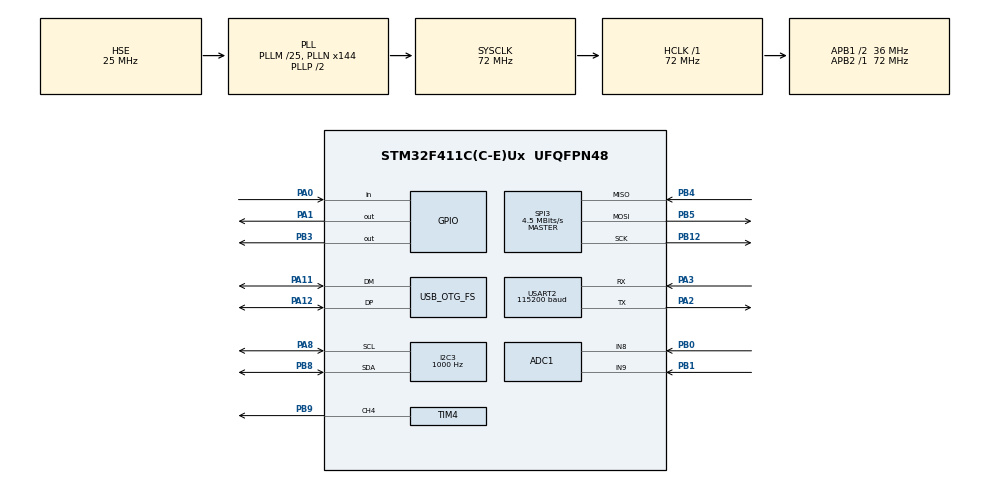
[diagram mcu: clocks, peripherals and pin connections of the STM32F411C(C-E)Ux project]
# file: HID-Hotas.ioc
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ADC1.Channel-10\#ChannelRegularConversion=ADC_CHANNEL_9
ADC1.Channel-9\#ChannelRegularConversion=ADC_CHANNEL_8
ADC1.DMAContinuousRequests=ENABLE
ADC1.EOCSelection=ADC_EOC_SEQ_CONV
ADC1.NbrOfConversion=2
ADC1.NbrOfConversionFlag=1
ADC1.Rank-10\#ChannelRegularConversion=2
ADC1.Rank-9\#ChannelRegularConversion=1
ADC1.SamplingTime-10\#ChannelRegularConversion=ADC_SAMPLETIME_3CYCLES
ADC1.SamplingTime-9\#ChannelRegularConversion=ADC_SAMPLETIME_3CYCLES
ADC1.ScanConvMode=ENABLE
ADC1.master=1
Dma.ADC1.0.Direction=DMA_PERIPH_TO_MEMORY
Dma.ADC1.0.FIFOMode=DMA_FIFOMODE_DISABLE
Dma.ADC1.0.Instance=DMA2_Stream0
Dma.ADC1.0.MemDataAlignment=DMA_MDATAALIGN_HALFWORD
Dma.ADC1.0.MemInc=DMA_MINC_ENABLE
Dma.ADC1.0.Mode=DMA_CIRCULAR
Dma.ADC1.0.PeriphDataAlignment=DMA_PDATAALIGN_HALFWORD
Dma.ADC1.0.PeriphInc=DMA_PINC_DISABLE
Dma.ADC1.0.Priority=DMA_PRIORITY_LOW
Dma.Request0=ADC1
Dma.Request1=USART2_RX
Dma.USART2_RX.1.Direction=DMA_PERIPH_TO_MEMORY
Dma.USART2_RX.1.FIFOMode=DMA_FIFOMODE_DISABLE
Dma.USART2_RX.1.Instance=DMA1_Stream5
Dma.USART2_RX.1.MemDataAlignment=DMA_MDATAALIGN_BYTE
Dma.USART2_RX.1.MemInc=DMA_MINC_ENABLE
Dma.USART2_RX.1.Mode=DMA_NORMAL
Dma.USART2_RX.1.PeriphDataAlignment=DMA_PDATAALIGN_BYTE
Dma.USART2_RX.1.PeriphInc=DMA_PINC_DISABLE
Dma.USART2_RX.1.Priority=DMA_PRIORITY_LOW
I2C3.ClockSpeed=1000
Mcu.Family=STM32F4
Mcu.Name=STM32F411C(C-E)Ux
Mcu.Package=UFQFPN48
NVIC.DMA1_Stream5_IRQn=true\:0\:0\:false\:false\:true\:false\:true\:true
NVIC.DMA2_Stream0_IRQn=true\:0\:0\:false\:false\:true\:false\:true\:true
NVIC.OTG_FS_IRQn=true\:0\:0\:false\:false\:true\:false\:true\:true
NVIC.PriorityGroup=NVIC_PRIORITYGROUP_4
NVIC.USART2_IRQn=true\:0\:0\:false\:false\:true\:true\:true\:true
PA0-WKUP.GPIO_PuPd=GPIO_PULLUP
PA0-WKUP.Signal=GPIO_Input
PA1.Signal=GPIO_Output
PA11.Mode=Device_Only
PA11.Signal=USB_OTG_FS_DM
PA12.Mode=Device_Only
PA12.Signal=USB_OTG_FS_DP
PA13.Mode=Serial_Wire
PA13.Signal=SYS_JTMS-SWDIO
PA14.Mode=Serial_Wire
PA14.Signal=SYS_JTCK-SWCLK
PA2.Mode=Asynchronous
PA2.Signal=USART2_TX
PA3.Mode=Asynchronous
PA3.Signal=USART2_RX
PA8.GPIO_Pu=GPIO_NOPULL
PA8.Mode=I2C
PA8.Signal=I2C3_SCL
PB0.Signal=ADCx_IN8
PB1.Signal=ADCx_IN9
PB12.Mode=Full_Duplex_Master
PB12.Signal=SPI3_SCK
PB3.Signal=GPIO_Output
PB4.Mode=Full_Duplex_Master
PB4.Signal=SPI3_MISO
PB5.Mode=Full_Duplex_Master
PB5.Signal=SPI3_MOSI
PB8.GPIO_Pu=GPIO_NOPULL
PB8.Mode=I2C
PB8.Signal=I2C3_SDA
PB9.Signal=S_TIM4_CH4
PH0\ -\ OSC_IN.Mode=HSE-External-Oscillator
PH0\ -\ OSC_IN.Signal=RCC_OSC_IN
PH1\ -\ OSC_OUT.Mode=HSE-External-Oscillator
PH1\ -\ OSC_OUT.Signal=RCC_OSC_OUT
ProjectManager.HeapSize=0x200
ProjectManager.StackSize=0x400
ProjectManager.TargetToolchain=Makefile
RCC.48MHZClocksFreq_Value=48000000
RCC.AHBFreq_Value=72000000
RCC.APB1CLKDivider=RCC_HCLK_DIV2
RCC.APB1Freq_Value=36000000
RCC.APB1TimFreq_Value=72000000
RCC.APB2Freq_Value=72000000
RCC.APB2TimFreq_Value=72000000
RCC.CortexFreq_Value=72000000
RCC.HCLKFreq_Value=72000000
RCC.HSE_VALUE=25000000
RCC.HSI_VALUE=16000000
RCC.LSE_VALUE=32768
RCC.PLLM=25
RCC.PLLN=144
RCC.PLLQ=3
RCC.SYSCLKFreq_VALUE=72000000
RCC.SYSCLKSource=RCC_SYSCLKSOURCE_PLLCLK
RCC.VCOOutputFreq_Value=144000000
SH.ADCx_IN8.0=ADC1_IN8,IN8
SH.ADCx_IN9.0=ADC1_IN9,IN9
SH.S_TIM4_CH4.0=TIM4_CH4,PWM Generation4 CH4
SPI3.BaudRatePrescaler=SPI_BAUDRATEPRESCALER_8
SPI3.CalculateBaudRate=4.5 MBits/s
SPI3.Direction=SPI_DIRECTION_2LINES
SPI3.Mode=SPI_MODE_MASTER
SPI3.VirtualType=VM_MASTER
TIM4.AutoReloadPreload=TIM_AUTORELOAD_PRELOAD_ENABLE
TIM4.Channel-PWM\ Generation4\ CH4=TIM_CHANNEL_4
TIM4.Prescaler=71
USART2.BaudRate=115200
USART2.Mode=MODE_RX
USART2.VirtualMode=VM_ASYNC
USB_DEVICE.CLASS_NAME_FS=CUSTOM_HID
USB_DEVICE.PID_CUSTOMHID_FS=22362
USB_DEVICE.PRODUCT_STRING_CUSTOMHID_FS=H.O.T.A.S.
USB_DEVICE.USBD_CUSTOM_HID_REPORT_DESC_SIZE=60
USB_DEVICE.VID=1155
USB_DEVICE.VirtualMode=CustomHid
USB_DEVICE.VirtualModeFS=Custom_Hid_FS
USB_OTG_FS.VirtualMode=Device_Only
VP_TIM4_VS_ClockSourceINT.Mode=Internal
VP_USB_DEVICE_VS_USB_DEVICE_CUSTOM_HID_FS.Mode=CUSTOM_HID_FS
board=custom

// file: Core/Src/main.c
/* USER CODE BEGIN Header */
/**
  ******************************************************************************
  * @file           : main.c
  * @brief          : Main program body
  ******************************************************************************
  * @attention
  *
  * Copyright (c) 2022 STMicroelectronics.
  * All rights reserved.
  *
  * This software is licensed under terms that can be found in the LICENSE file
  * in the root directory of this software component.
  * If no LICENSE file comes with this software, it is provided AS-IS.
  *
  ******************************************************************************
  */
/* USER CODE END Header */
#include "main.h"
#include "adc.h"
#include "dma.h"
#include "i2c.h"
#include "spi.h"
#include "tim.h"
#include "usart.h"
#include "usb_device.h"
#include "gpio.h"

/* USER CODE BEGIN Includes */
// #define serial_MCP23S17
// #define serial_MCP23017
#include "tunes.c"
#include "serial.c"
#include "usbd_customhid.h"
#include "math.h"
/* USER CODE END Includes */

/* USER CODE BEGIN PV */
uint16_t ADC_buffer[2];
/* USER CODE END PV */

void SystemClock_Config(void);

/* USER CODE BEGIN 0 */
extern USBD_HandleTypeDef hUsbDeviceFS;

int centering(uint16_t probed, uint16_t correction)
{
  uint16_t result;
  if (probed < correction)
  {
    result = (4095 - (((probed - 1056)* 2048) / (correction - 1056)));
  }
  else
  {
    result = (4095 - ((((probed - correction)* 2048) / (4095 - correction)) + 2048));
  }
  return result;
}
int expo(uint16_t probed2, uint16_t correction2)
{
  uint16_t x = centering(probed2, correction2);
  uint16_t result2;
  if (abs(x-2048) < 64)
  {
	result2 = 2048/16;
  }
  else
  {
	if (x > 2048)
	{
		result2 = ( 64 * exp((( x)-2048) / (510.0) ) + 2048)/16;
		if (result2 > 255) result2 = 255;
	}
	else
	{
		result2 = (-64 * exp(((-x)+2048) / (510.0) ) + 2048)/16;
	}
  }
  return result2;
}
/* USER CODE END 0 */

int main(void)
{
  /* USER CODE BEGIN 1 */
  uint8_t Joystick_buffer[7];
  uint8_t Extender_raw[4];
  uint16_t x_correction;
  uint16_t y_correction;
  uint8_t ThrottleBT[5] = {0};
  uint16_t Throttle = 0x00;
  uint16_t ThrottleButtons = 0xFF;
  uint16_t heartbit_delay = 50;
  /* USER CODE END 1 */

  /* MCU Configuration--------------------------------------------------------*/

  /* Reset of all peripherals, Initializes the Flash interface and the Systick. */
  HAL_Init();

  /* Configure the system clock */
  SystemClock_Config();

  /* Initialize all configured peripherals */
  MX_GPIO_Init();
  MX_DMA_Init();
  MX_USB_DEVICE_Init();
  MX_ADC1_Init();
  MX_SPI3_Init();
  MX_USART2_UART_Init();
  MX_I2C3_Init();
  MX_TIM4_Init();
  /* USER CODE BEGIN 2 */

  Joystick_buffer[0] = 0; // T
  Joystick_buffer[1] = 0; // X
  Joystick_buffer[2] = 0; // Y
  Joystick_buffer[3] = 0; // Extender
  Joystick_buffer[4] = 0; // Extender
  Joystick_buffer[5] = 0; // Extender
  Joystick_buffer[6] = 0; // Extender
  HAL_TIM_PWM_Start(&htim4, TIM_CHANNEL_4);
  tune_init();
  HAL_ADC_Start_DMA(&hadc1, (uint32_t*) ADC_buffer, 2);
  HAL_Delay(1000);
  x_correction = ADC_buffer[0];
  y_correction = ADC_buffer[1];
  setup_MCP23X17();
  if (protocol) {
	MCP23X17_write(IO_DEVICE_1, MCP_OLATB, 0x40);
  }
  /* USER CODE END 2 */

  /* Infinite loop */
  while (1)
  {

    /* USER CODE BEGIN 3 */
    if (heartbit_delay > 0)
	  heartbit_delay -= 1;
	else {
      tune_heartbeat();
	  heartbit_delay = 100;
	}

    if (HAL_GPIO_ReadPin(GPIOA, GPIO_PIN_0) == 0) {
	  setup_MCP23017();
      x_correction = ADC_buffer[0];
      y_correction = ADC_buffer[1];
	  tune_calibrated();
	}

    HAL_UART_Receive_DMA(&huart2, ThrottleBT, 5);
    if (ThrottleBT[0] == 'z')				// detect Z axis data packet
    {
      ThrottleBT[0] = '0';					// rewrite x as 0 to be able to convert char to int
      Throttle = atoi((char*) ThrottleBT);
    } else if (ThrottleBT[0] == 'b')		// detect buttons data packet
    {
      ThrottleBT[0] = '0';
      ThrottleButtons = atoi((char*) ThrottleBT);
    //   ThrottleB2 = ThrottleBT[2];
    //   ThrottleB3 = ThrottleBT[3];
    //   ThrottleB4 = ThrottleBT[4];
    }
    Extender_raw[0] = MCP23X17_read(IO_DEVICE_1, MCP_GPIOA);
    Extender_raw[1] = MCP23X17_read(IO_DEVICE_1, MCP_GPIOB);
    Extender_raw[2] = MCP23X17_read(IO_DEVICE_2, MCP_GPIOA);
    Extender_raw[3] = MCP23X17_read(IO_DEVICE_2, MCP_GPIOB);
    uint8_t Extender_data[4] = {0};

    for(int index = 0; index < 32; index++)
    {
      InputIndexing *input_loc = input_map + index;
      int Extender_value = (Extender_raw[input_loc->byte_index] >> input_loc->bit_index) & 0x1;
      int curr_byte_index = index / 8;
      int curr_bit_index  = index % 8;
      Extender_data[curr_byte_index] |= Extender_value << curr_bit_index;
    }

    HAL_ADC_Start_DMA(&hadc1, (uint32_t*) ADC_buffer, 2);
    Joystick_buffer[0] = Throttle/4;
    Joystick_buffer[1] = expo(ADC_buffer[0], x_correction);
    Joystick_buffer[2] = expo(ADC_buffer[1], y_correction);
    Joystick_buffer[3] = Extender_data[0];
    Joystick_buffer[4] = Extender_data[1];
    Joystick_buffer[5] = Extender_data[2];
    Joystick_buffer[6] = (~ThrottleButtons & 0x3F) << 2 |	// insert 6 buttons from the throttle
                         (Extender_data[3] & 0x03);
    USBD_CUSTOM_HID_SendReport(&hUsbDeviceFS, Joystick_buffer, 7);
    HAL_Delay(50);
  }
  /* USER CODE END 3 */
}

void SystemClock_Config(void)
{
  RCC_OscInitTypeDef RCC_OscInitStruct = {0};
  RCC_ClkInitTypeDef RCC_ClkInitStruct = {0};

  /** Configure the main internal regulator output voltage
  */
  __HAL_RCC_PWR_CLK_ENABLE();
  __HAL_PWR_VOLTAGESCALING_CONFIG(PWR_REGULATOR_VOLTAGE_SCALE1);

  /** Initializes the RCC Oscillators according to the specified parameters
  * in the RCC_OscInitTypeDef structure.
  */
  RCC_OscInitStruct.OscillatorType = RCC_OSCILLATORTYPE_HSE;
  RCC_OscInitStruct.HSEState = RCC_HSE_ON;
  RCC_OscInitStruct.PLL.PLLState = RCC_PLL_ON;
  RCC_OscInitStruct.PLL.PLLSource = RCC_PLLSOURCE_HSE;
  RCC_OscInitStruct.PLL.PLLM = 25;
  RCC_OscInitStruct.PLL.PLLN = 144;
  RCC_OscInitStruct.PLL.PLLP = RCC_PLLP_DIV2;
  RCC_OscInitStruct.PLL.PLLQ = 3;
  if (HAL_RCC_OscConfig(&RCC_OscInitStruct) != HAL_OK)
  {
    Error_Handler();
  }

  /** Initializes the CPU, AHB and APB buses clocks
  */
  RCC_ClkInitStruct.ClockType = RCC_CLOCKTYPE_HCLK|RCC_CLOCKTYPE_SYSCLK
                              |RCC_CLOCKTYPE_PCLK1|RCC_CLOCKTYPE_PCLK2;
  RCC_ClkInitStruct.SYSCLKSource = RCC_SYSCLKSOURCE_PLLCLK;
  RCC_ClkInitStruct.AHBCLKDivider = RCC_SYSCLK_DIV1;
  RCC_ClkInitStruct.APB1CLKDivider = RCC_HCLK_DIV2;
  RCC_ClkInitStruct.APB2CLKDivider = RCC_HCLK_DIV1;

  if (HAL_RCC_ClockConfig(&RCC_ClkInitStruct, FLASH_LATENCY_2) != HAL_OK)
  {
    Error_Handler();
  }
}

void Error_Handler(void)
{
  __disable_irq();
  while (1)
  {
  }
}
